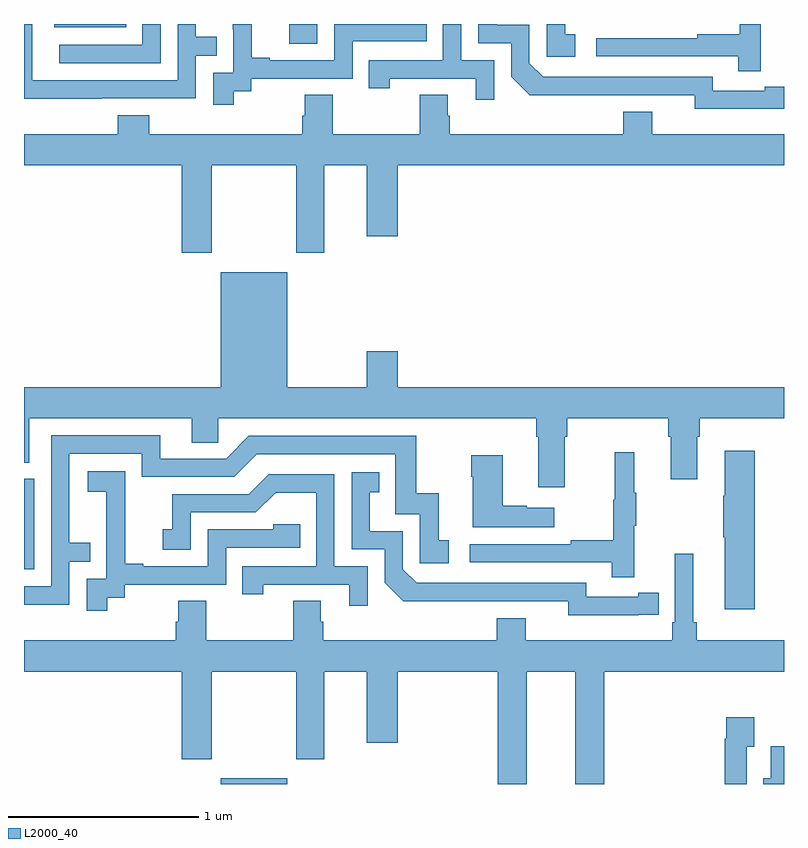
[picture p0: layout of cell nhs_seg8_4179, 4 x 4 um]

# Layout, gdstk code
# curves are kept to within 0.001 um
import gdstk
lib = gdstk.Library(unit=1e-6, precision=1e-09)
def R(c, l, rs):  # rectangles x0, y0, x1, y1
    for r in rs: c.add(gdstk.rectangle(r[:2], r[2:], *l))
def P(c, l, *ps):  # polygons
    for p in ps: c.add(gdstk.Polygon(p, *l))
L2000_40 = (2000, 40)

nhs_seg8_4179 = lib.new_cell('nhs_seg8_4179')
R(nhs_seg8_4179, L2000_40, [(368.036,1123.9,368.386,1123.93), (367,1125.03,367.053,1125.507), (368.397,1127.796,368.544,1127.9), (367.16,1127.882,367.538,1127.9)])
P(nhs_seg8_4179, L2000_40, [(368.104,1127.545),(368.196,1127.545),(368.196,1127.613),(368.73,1127.613),(368.73,1127.808),(369.119,1127.808),(369.119,1127.9),(368.634,1127.9),(368.634,1127.709),(368.293,1127.709),(368.293,1127.722),(368.198,1127.722),(368.198,1127.9),(368.099,1127.9),(368.099,1127.873),(368.1,1127.873),(368.1,1127.643),(367.995,1127.643),(367.995,1127.475),(368.104,1127.475)],
  [(369.901,1127.847),(369.848,1127.847),(369.848,1127.9),(369.75,1127.9),(369.75,1127.727),(369.901,1127.727)],
  [(369.474,1127.709),(369.3,1127.709),(369.3,1127.9),(369.204,1127.9),(369.204,1127.709),(368.815,1127.709),(368.815,1127.562),(368.926,1127.562),(368.926,1127.613),(369.377,1127.613),(369.377,1127.502),(369.474,1127.502)],
  [(367.719,1127.9),(367.623,1127.9),(367.623,1127.79),(367.185,1127.79),(367.185,1127.694),(367.719,1127.694)],
  [(370.898,1127.454),(371,1127.454),(371,1127.57),(370.898,1127.57),(370.898,1127.55),(370.626,1127.55),(370.626,1127.622),(369.732,1127.622),(369.66,1127.694),(369.66,1127.895),(369.487,1127.895),(369.487,1127.9),(369.39,1127.9),(369.39,1127.799),(369.564,1127.799),(369.564,1127.622),(369.662,1127.525),(370.53,1127.526),(370.53,1127.453)],
  [(367.409,1127.508),(367.905,1127.508),(367.905,1127.733),(368.015,1127.733),(368.015,1127.834),(367.905,1127.834),(367.905,1127.9),(367.809,1127.9),(367.809,1127.604),(367.044,1127.604),(367.044,1127.9),(367,1127.9),(367,1127.507),(367.409,1127.507)],
  [(370.877,1127.9),(370.767,1127.9),(370.767,1127.846),(370.543,1127.846),(370.543,1127.826),(370.011,1127.826),(370.011,1127.73),(370.759,1127.73),(370.759,1127.652),(370.877,1127.652)],
  [(367.989,1127.156),(368.434,1127.156),(368.434,1126.695),(368.581,1126.695),(368.581,1127.156),(368.804,1127.156),(368.804,1126.782),(368.968,1126.782),(368.968,1127.156),(371,1127.156),(371,1127.32),(370.306,1127.32),(370.306,1127.437),(370.154,1127.437),(370.154,1127.32),(369.242,1127.32),(369.242,1127.418),(369.229,1127.418),(369.229,1127.528),(369.082,1127.528),(369.082,1127.32),(368.625,1127.32),(368.625,1127.528),(368.477,1127.528),(368.477,1127.418),(368.465,1127.418),(368.465,1127.32),(367.658,1127.32),(367.658,1127.419),(367.493,1127.419),(367.493,1127.32),(367,1127.32),(367,1127.156),(367.829,1127.156),(367.829,1126.695),(367.989,1126.695)],
  [(369.847,1125.728),(369.86,1125.728),(369.86,1125.824),(370.391,1125.824),(370.391,1125.728),(370.403,1125.728),(370.403,1125.504),(370.543,1125.504),(370.543,1125.728),(370.556,1125.728),(370.556,1125.824),(371,1125.824),(371,1125.988),(368.968,1125.988),(368.968,1126.177),(368.804,1126.177),(368.804,1125.988),(368.386,1125.988),(368.386,1126.594),(368.036,1126.594),(368.036,1125.988),(367,1125.988),(367,1125.592),(367.027,1125.592),(367.027,1125.824),(367.883,1125.824),(367.883,1125.697),(368.022,1125.697),(368.022,1125.824),(369.695,1125.824),(369.695,1125.728),(369.707,1125.728),(369.707,1125.462),(369.847,1125.462)],
  [(367.239,1125.069),(367.349,1125.069),(367.349,1125.17),(367.239,1125.17),(367.239,1125.639),(367.62,1125.639),(367.62,1125.516),(368.106,1125.516),(368.226,1125.636),(368.955,1125.636),(368.955,1125.321),(369.084,1125.321),(369.084,1125.063),(369.235,1125.063),(369.235,1125.183),(369.182,1125.183),(369.182,1125.43),(369.064,1125.43),(369.064,1125.732),(368.184,1125.732),(368.064,1125.612),(367.717,1125.612),(367.717,1125.735),(367.143,1125.735),(367.143,1124.94),(367,1124.94),(367,1124.844),(367.239,1124.844)],
  [(370.847,1125.655),(370.688,1125.655),(370.688,1125.416),(370.681,1125.416),(370.681,1125.199),(370.688,1125.199),(370.688,1124.82),(370.847,1124.82)],
  [(370.211,1125.259),(370.222,1125.259),(370.222,1125.433),(370.211,1125.433),(370.211,1125.646),(370.108,1125.646),(370.108,1125.396),(370.101,1125.396),(370.101,1125.182),(369.877,1125.182),(369.877,1125.162),(369.345,1125.162),(369.345,1125.066),(370.093,1125.066),(370.093,1124.988),(370.211,1124.988)],
  [(369.79,1125.355),(369.647,1125.355),(369.647,1125.365),(369.52,1125.365),(369.52,1125.631),(369.355,1125.631),(369.355,1125.518),(369.362,1125.518),(369.362,1125.251),(369.79,1125.251)],
  [(367.438,1124.881),(367.53,1124.881),(367.53,1124.949),(368.064,1124.949),(368.064,1125.144),(368.453,1125.144),(368.453,1125.267),(368.313,1125.267),(368.313,1125.24),(367.968,1125.24),(367.968,1125.045),(367.627,1125.045),(367.627,1125.058),(367.532,1125.058),(367.532,1125.341),(367.533,1125.341),(367.533,1125.547),(367.335,1125.547),(367.335,1125.437),(367.433,1125.437),(367.433,1125.209),(367.434,1125.209),(367.434,1124.979),(367.329,1124.979),(367.329,1124.811),(367.438,1124.811)],
  [(370.232,1124.79),(370.34,1124.79),(370.34,1124.906),(370.232,1124.906),(370.232,1124.886),(369.96,1124.886),(369.96,1124.958),(369.066,1124.958),(368.994,1125.03),(368.994,1125.231),(368.821,1125.231),(368.821,1125.435),(368.87,1125.435),(368.87,1125.541),(368.724,1125.541),(368.724,1125.135),(368.898,1125.135),(368.898,1124.958),(368.996,1124.861),(369.864,1124.862),(369.864,1124.789)],
  [(368.808,1125.045),(368.634,1125.045),(368.634,1125.531),(368.288,1125.531),(368.183,1125.426),(367.78,1125.426),(367.78,1125.241),(367.731,1125.241),(367.731,1125.132),(367.878,1125.132),(367.878,1125.33),(368.22,1125.33),(368.324,1125.434),(368.538,1125.434),(368.538,1125.045),(368.149,1125.045),(368.149,1124.898),(368.26,1124.898),(368.26,1124.949),(368.711,1124.949),(368.711,1124.838),(368.808,1124.838)],
  [(369.646,1124.492),(369.902,1124.492),(369.902,1123.9),(370.055,1123.9),(370.055,1124.492),(371,1124.492),(371,1124.656),(370.541,1124.656),(370.541,1124.752),(370.522,1124.752),(370.522,1125.112),(370.425,1125.112),(370.425,1124.752),(370.412,1124.752),(370.412,1124.656),(369.64,1124.656),(369.64,1124.773),(369.488,1124.773),(369.488,1124.656),(368.576,1124.656),(368.576,1124.754),(368.563,1124.754),(368.563,1124.864),(368.416,1124.864),(368.416,1124.656),(367.959,1124.656),(367.959,1124.864),(367.811,1124.864),(367.811,1124.754),(367.799,1124.754),(367.799,1124.656),(367,1124.656),(367,1124.492),(367.829,1124.492),(367.829,1124.031),(367.989,1124.031),(367.989,1124.492),(368.434,1124.492),(368.434,1124.031),(368.581,1124.031),(368.581,1124.492),(368.804,1124.492),(368.804,1124.118),(368.968,1124.118),(368.968,1124.492),(369.494,1124.492),(369.494,1123.9),(369.646,1123.9)],
  [(370.803,1124.095),(370.843,1124.095),(370.843,1124.251),(370.695,1124.251),(370.695,1124.138),(370.687,1124.138),(370.687,1123.9),(370.803,1123.9)],
  [(371,1124.098),(370.931,1124.098),(370.931,1123.93),(370.892,1123.93),(370.892,1123.9),(371,1123.9)])

lib.write_gds('nhs_seg8_4179.gds')
